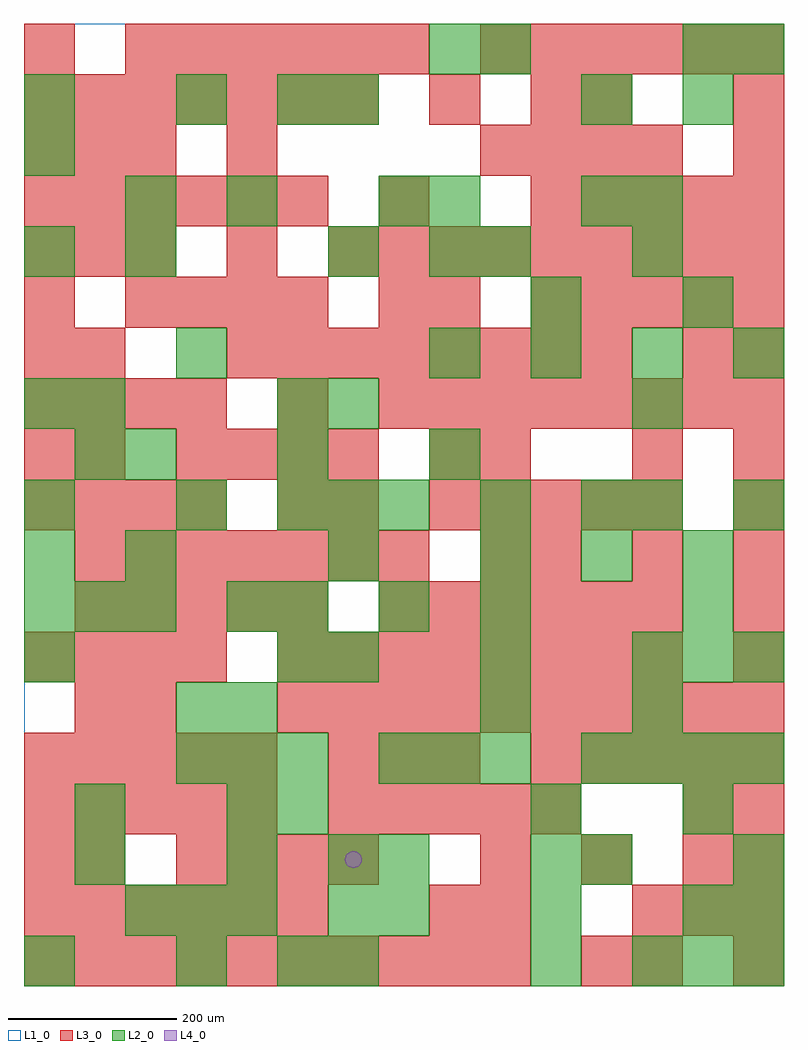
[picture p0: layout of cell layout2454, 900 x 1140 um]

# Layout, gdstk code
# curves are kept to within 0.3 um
import gdstk
lib = gdstk.Library(unit=1e-6, precision=1e-09)
def R(c, l, rs):  # rectangles x0, y0, x1, y1
    for r in rs: c.add(gdstk.rectangle(r[:2], r[2:], *l))
def A(c, l, x, y, w, h, nx, ny, dx, dy):  # array of equal rectangles
    R(c, l, [(x+i*dx, y+j*dy, x+i*dx+w, y+j*dy+h) for i in range(nx) for j in range(ny)])
def P(c, l, *ps):  # polygons
    for p in ps: c.add(gdstk.Polygon(p, *l))
L1_0 = (1, 0)
L2_0 = (2, 0)
L3_0 = (3, 0)
L4_0 = (4, 0)

layout2454 = lib.new_cell('layout2454')
R(layout2454, L1_0, [(0,0,900,1140)])
A(layout2454, L2_0, 300, 0, 60, 60, 1, 3, 0, 180)
A(layout2454, L2_0, 360, 0, 60, 60, 1, 3, 0, 60)
A(layout2454, L2_0, 720, 0, 60, 60, 3, 1, 60, 0)
A(layout2454, L2_0, 120, 60, 60, 60, 3, 1, 60, 0)
A(layout2454, L2_0, 420, 60, 60, 60, 3, 1, 180, 0)
A(layout2454, L2_0, 240, 180, 60, 60, 1, 3, 0, 120)
A(layout2454, L2_0, 180, 240, 60, 60, 3, 1, 60, 0)
A(layout2454, L2_0, 420, 240, 60, 60, 3, 1, 60, 0)
A(layout2454, L2_0, 660, 240, 60, 60, 4, 1, 60, 0)
A(layout2454, L2_0, 360, 360, 60, 60, 3, 1, 180, 0)
A(layout2454, L2_0, 0, 420, 60, 60, 3, 1, 60, 0)
A(layout2454, L2_0, 300, 420, 60, 60, 3, 1, 120, 0)
A(layout2454, L2_0, 360, 480, 60, 60, 1, 4, 0, 180)
A(layout2454, L2_0, 540, 480, 60, 60, 3, 1, 120, 0)
A(layout2454, L2_0, 300, 540, 60, 60, 3, 1, 60, 0)
A(layout2454, L2_0, 120, 600, 60, 60, 3, 1, 180, 0)
A(layout2454, L2_0, 480, 720, 60, 60, 4, 1, 120, 0)
R(layout2454, L2_0, [(0,0,60,60), (180,0,240,60), (600,0,660,60), (840,60,900,120), (60,120,120,180), (240,120,300,180), (420,120,480,180), (600,120,660,180), (660,120,720,180), (840,120,900,180), (60,180,120,240), (600,180,660,240), (780,180,840,240), (180,300,240,360), (540,300,600,360), (720,300,780,360), (0,360,60,420), (780,360,840,420), (840,360,900,420), (780,420,840,480), (0,480,60,540), (120,480,180,540), (0,540,60,600), (180,540,240,600), (540,540,600,600), (660,540,720,600), (720,540,780,600), (840,540,900,600), (60,600,120,660), (0,660,60,720), (60,660,120,720), (300,660,360,720), (720,660,780,720), (180,720,240,780), (600,780,660,840), (780,780,840,840), (0,840,60,900), (120,840,180,900), (480,840,540,900), (540,840,600,900), (720,840,780,900), (120,900,180,960), (240,900,300,960), (420,900,480,960), (480,900,540,960), (660,900,720,960), (720,900,780,960), (0,960,60,1020), (0,1020,60,1080), (180,1020,240,1080), (300,1020,360,1080), (660,1020,720,1080), (780,1020,840,1080), (480,1080,540,1140), (540,1080,600,1140), (780,1080,840,1140), (840,1080,900,1140)])
A(layout2454, L3_0, 0, 0, 60, 60, 10, 1, 60, 0)
A(layout2454, L3_0, 0, 60, 60, 60, 6, 2, 60, 840)
A(layout2454, L3_0, 720, 60, 60, 60, 3, 1, 60, 0)
A(layout2454, L3_0, 180, 120, 60, 60, 4, 2, 60, 480)
A(layout2454, L3_0, 540, 120, 60, 60, 3, 1, 120, 0)
A(layout2454, L3_0, 0, 180, 60, 60, 5, 2, 60, 60)
A(layout2454, L3_0, 360, 180, 60, 60, 5, 1, 60, 0)
A(layout2454, L3_0, 360, 240, 60, 60, 3, 1, 60, 0)
A(layout2454, L3_0, 600, 240, 60, 60, 5, 2, 60, 540)
A(layout2454, L3_0, 300, 300, 60, 60, 10, 1, 60, 0)
A(layout2454, L3_0, 0, 360, 60, 60, 4, 2, 60, 180)
A(layout2454, L3_0, 300, 360, 60, 60, 8, 1, 60, 0)
A(layout2454, L3_0, 60, 420, 60, 60, 5, 1, 60, 0)
A(layout2454, L3_0, 420, 420, 60, 60, 6, 1, 60, 0)
A(layout2454, L3_0, 60, 480, 60, 60, 7, 1, 60, 0)
A(layout2454, L3_0, 600, 480, 60, 60, 3, 1, 120, 0)
A(layout2454, L3_0, 480, 540, 60, 60, 5, 1, 60, 0)
A(layout2454, L3_0, 0, 660, 60, 60, 4, 1, 60, 0)
A(layout2454, L3_0, 420, 660, 60, 60, 8, 1, 60, 0)
A(layout2454, L3_0, 240, 720, 60, 60, 8, 1, 60, 0)
A(layout2454, L3_0, 120, 780, 60, 60, 4, 1, 60, 0)
A(layout2454, L3_0, 0, 840, 60, 60, 3, 2, 60, 120)
A(layout2454, L3_0, 360, 840, 60, 60, 9, 1, 60, 0)
A(layout2454, L3_0, 600, 900, 60, 60, 5, 1, 60, 0)
A(layout2454, L3_0, 540, 960, 60, 60, 4, 1, 60, 0)
A(layout2454, L3_0, 0, 1020, 60, 60, 7, 1, 60, 0)
A(layout2454, L3_0, 120, 1080, 60, 60, 6, 1, 60, 0)
A(layout2454, L3_0, 540, 1080, 60, 60, 6, 1, 60, 0)
R(layout2454, L3_0, [(660,0,720,60), (720,0,780,60), (840,0,900,60), (480,60,540,120), (540,60,600,120), (0,120,60,180), (60,120,120,180), (840,120,900,180), (780,180,840,240), (840,180,900,240), (60,300,120,360), (120,300,180,360), (840,360,900,420), (840,420,900,480), (540,480,600,540), (300,540,360,600), (360,540,420,600), (840,540,900,600), (0,600,60,660), (60,600,120,660), (480,600,540,660), (540,600,600,660), (720,600,780,660), (840,600,900,660), (300,660,360,720), (0,720,60,780), (60,720,120,780), (780,720,840,780), (840,720,900,780), (0,780,60,840), (420,780,480,840), (480,780,540,840), (240,840,300,900), (420,900,480,960), (240,960,300,1020), (840,960,900,1020), (480,1020,540,1080), (600,1020,660,1080), (660,1020,720,1080), (840,1020,900,1080), (0,1080,60,1140)])
P(layout2454, L4_0, [(400,150),(399.239,153.827),(397.071,157.071),(393.827,159.239),(390,160),(386.173,159.239),(382.929,157.071),(380.761,153.827),(380,150),(380.761,146.173),(382.929,142.929),(386.173,140.761),(390,140),(393.827,140.761),(397.071,142.929),(399.239,146.173)])

lib.write_gds('layout2454.gds')
